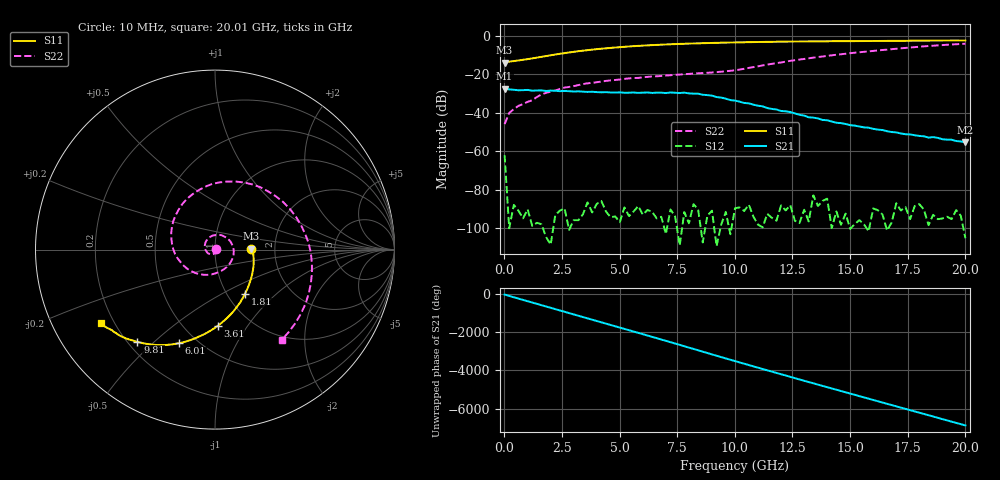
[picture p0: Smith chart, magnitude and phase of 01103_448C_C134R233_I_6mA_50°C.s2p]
!;Filter: kein Filter
!auto
!3/21/2019 9:27:54 AM
!3/21/2019 9:28:10 AM
!SP-Measurements Prober G4
!SP-Measurements Prober G4
!01103_448C
!134
!233
!12
!50
!-20
!0.00599970
!2.02
!0.74959551
!0.74959551
# Hz S  RI  R 50
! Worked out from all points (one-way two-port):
!   101 points, 10 MHz to 20.01 GHz, reference 50 ohm
!   highest |S21| = -27.41 dB at 10 MHz (marker M1); lowest = -55.3 dB at 20.01 GHz (marker M2)
!   lowest |S11| = -13.9 dB at 10 MHz (marker M3), VSWR 1.50, Z = 75.1 + j0.79 ohm
!   |S11| at or under -10 dB: start of sweep to 2.053 GHz
!   |S22| runs from -45.9 to -4.1 dB; largest |S21 - S12| = 0.042
!   S11 on the Smith chart (normalised r, x): 10 MHz: 1.50, +0.02; 1.81 GHz: 1.20, -0.66; 3.61 GHz: 0.71, -0.74; 6.01 GHz: 0.40, -0.61; 9.81 GHz: 0.24, -0.44; 20.01 GHz: 0.15, -0.29
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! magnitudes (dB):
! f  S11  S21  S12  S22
! 10 MHz  -13.9  -27.4  -62.1  -45.9
! 210 MHz  -13.4  -27.8  -100.1  -40.1
! 610 MHz  -12.8  -28.3  -91.0  -36.4
! 1.21 GHz  -11.7  -28.5  -98.9  -33.5
! 1.61 GHz  -10.9  -28.3  -98.0  -30.4
! 1.81 GHz  -10.5  -28.7  -104.6  -29.6
! 2.61 GHz  -9.0  -28.6  -89.7  -26.9
! 3.41 GHz  -7.7  -29.0  -92.8  -25.1
! 3.61 GHz  -7.4  -29.2  -86.6  -24.7
! 6.01 GHz  -5.1  -29.5  -93.0  -21.5
! 6.81 GHz  -4.6  -29.6  -94.1  -20.8
! 8.41 GHz  -3.9  -30.1  -90.4  -19.4
! 9.01 GHz  -3.7  -31.1  -91.0  -19.0
! 9.81 GHz  -3.5  -33.4  -103.2  -18.2
! 10.01 GHz  -3.4  -33.6  -89.7  -17.9
! 13.21 GHz  -2.9  -42.4  -96.5  -11.7
! 13.41 GHz  -2.9  -42.5  -82.9  -11.3
! 14.41 GHz  -2.8  -45.2  -91.3  -9.8
! 16.81 GHz  -2.6  -50.0  -97.1  -6.9
! 18.41 GHz  -2.5  -52.9  -98.5  -5.3
! 18.61 GHz  -2.4  -52.6  -93.1  -5.1
! 20.01 GHz  -2.4  -55.3  -105.3  -4.1
